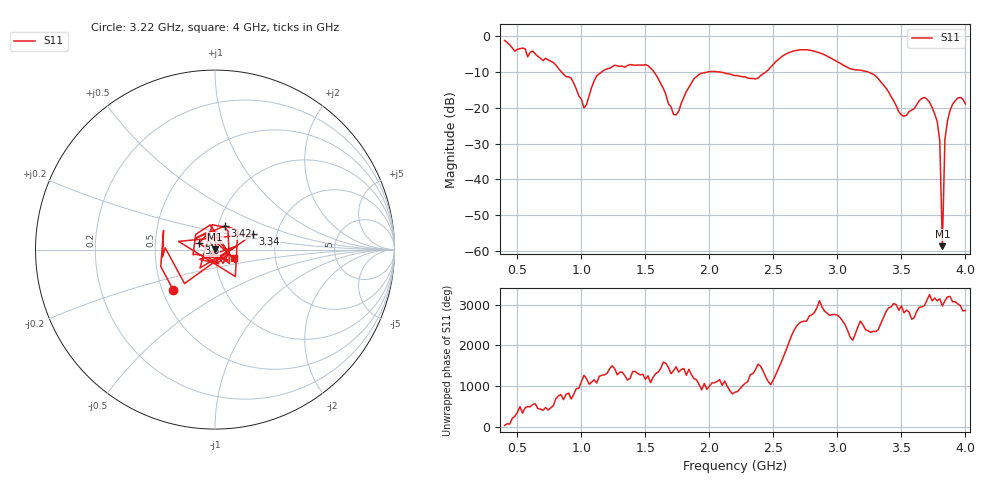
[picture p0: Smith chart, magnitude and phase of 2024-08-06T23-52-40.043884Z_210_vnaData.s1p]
!Created with skrf (http://scikit-rf.org).
# Hz S RI R 50.0
!freq ReS11 ImS11
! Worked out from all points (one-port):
!   181 points, 400 MHz to 4 GHz, reference 50 ohm
!   lowest |S11| = -58.6 dB at 3.82 GHz (marker M1), VSWR 1.00, Z = 50 + j0.117 ohm
!   |S11| at or under -10 dB: 1.567 GHz to 1.987 GHz (419.3 MHz wide, 23.6 % of centre); 2.084 GHz to 2.44 GHz (356.3 MHz wide, 15.7 % of centre); 3.24 GHz to end of sweep (the widest 3 of 4)
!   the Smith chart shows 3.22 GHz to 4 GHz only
!   S11 on the Smith chart (normalised r, x): 3.22 GHz: 0.57, -0.29; 3.34 GHz: 1.51, +0.27; 3.42 GHz: 1.07, +0.29; 3.6 GHz: 0.83, +0.06; 4 GHz: 1.22, -0.12
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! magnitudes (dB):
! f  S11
! 400 MHz  -1.2
! 860 MHz  -10.6
! 920 MHz  -11.7
! 1.02 GHz  -20.0
! 1.12 GHz  -11.0
! 1.3 GHz  -8.4
! 1.52 GHz  -8.2
! 1.72 GHz  -21.9
! 1.76 GHz  -21.0
! 1.92 GHz  -10.6
! 2.2 GHz  -11.0
! 2.38 GHz  -11.7
! 2.66 GHz  -4.1
! 3.1 GHz  -9.1
! 3.22 GHz  -9.8
! 3.34 GHz  -12.8
! 3.42 GHz  -16.9
! 3.5 GHz  -22.0
! 3.56 GHz  -21.0
! 3.6 GHz  -20.2
! 3.68 GHz  -17.1
! 3.78 GHz  -23.8
! 3.8 GHz  -29.3
! 3.82 GHz  -58.6
! 3.84 GHz  -28.9
! 3.86 GHz  -23.7
! 3.94 GHz  -17.3
! 4 GHz  -18.9
